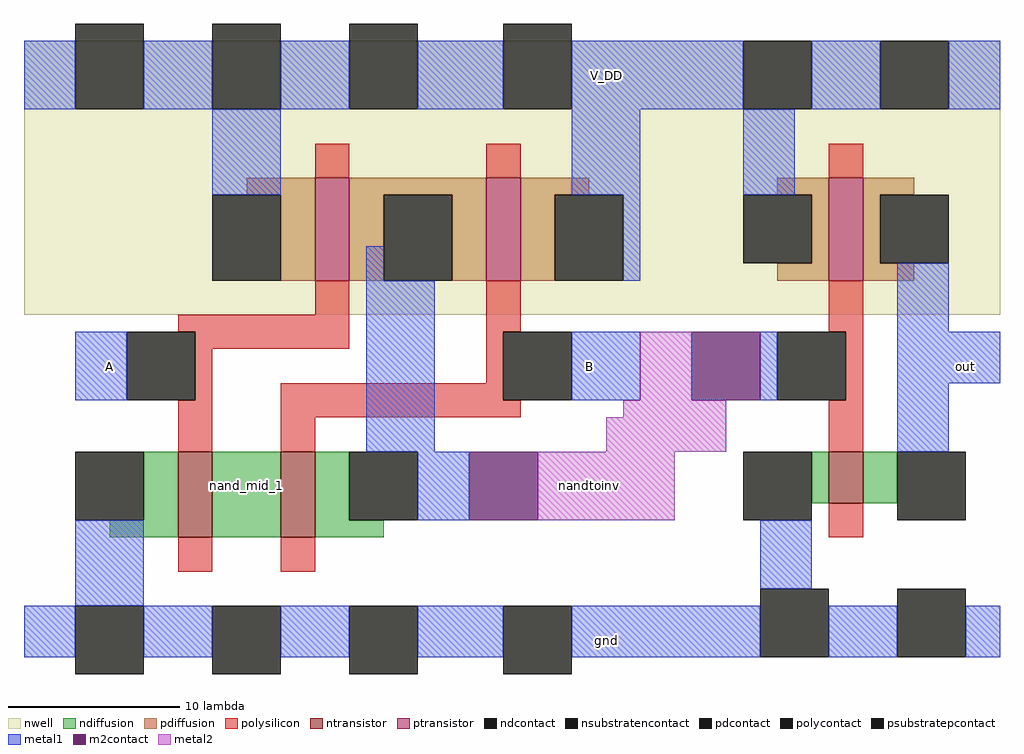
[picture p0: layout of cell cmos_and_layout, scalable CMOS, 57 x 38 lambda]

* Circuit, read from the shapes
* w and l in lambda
.subckt cmos_and_layout A B V_DD gnd nand_mid_1 nandtoinv out
M1 nand_mid_1 A gnd gnd nfet w=5 l=2
M2 nandtoinv B nand_mid_1 gnd nfet w=5 l=2
M3 out nandtoinv gnd gnd nfet w=3 l=2
M4 nandtoinv A V_DD V_DD pfet w=6 l=2
M5 V_DD B nandtoinv V_DD pfet w=6 l=2
M6 out nandtoinv V_DD V_DD pfet w=6 l=2
.ends

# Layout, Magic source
magic
tech scmos
<< nwell >>
rect 0 21 57 37
<< polysilicon >>
rect 17 29 19 31
rect 27 29 29 31
rect 47 29 49 31
rect 17 21 19 23
rect 9 20 19 21
rect 10 19 19 20
rect 27 20 29 23
rect 47 20 49 23
rect 10 16 11 19
rect 27 17 28 20
rect 9 13 11 16
rect 15 16 28 17
rect 48 16 49 20
rect 15 15 29 16
rect 15 13 17 15
rect 47 13 49 16
rect 47 8 49 10
rect 9 6 11 8
rect 15 6 17 8
<< ndiffusion >>
rect 7 9 9 13
rect 5 8 9 9
rect 11 8 15 13
rect 17 9 19 13
rect 46 10 47 13
rect 49 10 51 13
rect 17 8 21 9
<< pdiffusion >>
rect 13 28 17 29
rect 15 23 17 28
rect 19 28 27 29
rect 19 23 21 28
rect 25 23 27 28
rect 29 28 33 29
rect 44 28 47 29
rect 29 23 31 28
rect 46 24 47 28
rect 44 23 47 24
rect 49 28 52 29
rect 49 24 50 28
rect 49 23 52 24
<< metal1 >>
rect 0 33 3 37
rect 7 33 11 37
rect 15 33 19 37
rect 23 33 28 37
rect 32 33 42 37
rect 46 33 50 37
rect 54 33 57 37
rect 11 28 15 33
rect 32 28 36 33
rect 20 23 21 25
rect 35 23 36 28
rect 42 28 45 33
rect 3 16 6 20
rect 20 13 24 23
rect 51 20 54 24
rect 32 16 36 20
rect 43 16 44 20
rect 51 17 57 20
rect 51 13 54 17
rect 23 9 26 13
rect 3 4 7 9
rect 43 5 46 9
rect 0 1 3 4
rect 7 1 11 4
rect 15 1 19 4
rect 23 1 28 4
rect 32 1 43 4
rect 47 1 51 4
rect 55 1 57 4
<< metal2 >>
rect 36 16 39 20
rect 35 15 41 16
rect 34 13 41 15
rect 30 9 38 13
<< ntransistor >>
rect 9 8 11 13
rect 15 8 17 13
rect 47 10 49 13
<< ptransistor >>
rect 17 23 19 29
rect 27 23 29 29
rect 47 23 49 29
<< polycontact >>
rect 6 16 10 20
rect 28 16 32 20
rect 44 16 48 20
<< ndcontact >>
rect 3 9 7 13
rect 19 9 23 13
rect 42 9 46 13
rect 51 9 55 13
<< pdcontact >>
rect 11 23 15 28
rect 21 23 25 28
rect 31 23 35 28
rect 42 24 46 28
rect 50 24 54 28
<< m2contact >>
rect 39 16 43 20
rect 26 9 30 13
<< psubstratepcontact >>
rect 3 0 7 4
rect 11 0 15 4
rect 19 0 23 4
rect 28 0 32 4
rect 43 1 47 5
rect 51 1 55 5
<< nsubstratencontact >>
rect 3 33 7 38
rect 11 33 15 38
rect 19 33 23 38
rect 28 33 32 38
rect 42 33 46 37
rect 50 33 54 37
<< labels >>
rlabel metal1 34 35 34 35 5 V_DD
rlabel metal1 34 2 34 2 1 gnd
rlabel metal1 5 18 5 18 3 A
rlabel metal1 33 18 33 18 1 B
rlabel metal1 55 18 55 18 7 out
rlabel ndiffusion 13 11 13 11 1 nand_mid_1
rlabel metal2 33 11 33 11 1 nandtoinv
<< end >>
